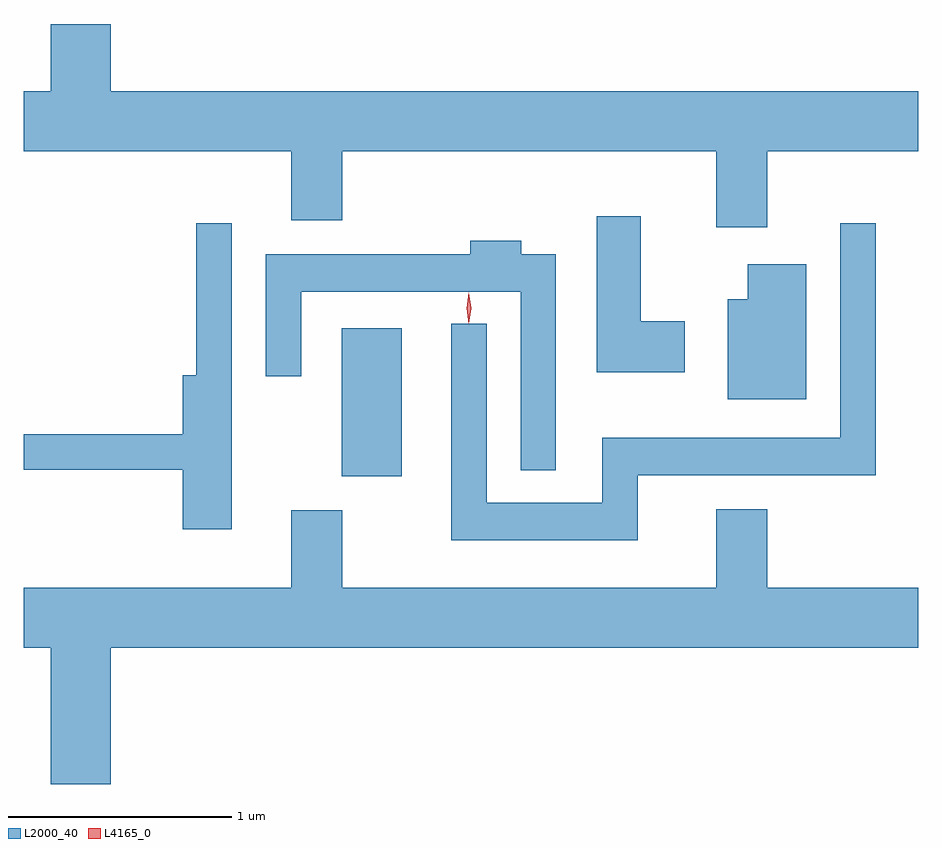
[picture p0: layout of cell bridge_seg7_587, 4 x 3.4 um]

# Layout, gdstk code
import gdstk
lib = gdstk.Library(unit=1e-6, precision=1e-09)
def R(c, l, rs):  # rectangles x0, y0, x1, y1
    for r in rs: c.add(gdstk.rectangle(r[:2], r[2:], *l))
def P(c, l, *ps):  # polygons
    for p in ps: c.add(gdstk.Polygon(p, *l))
L2000_40 = (2000, 40)
L4165_0 = (4165, 0)

bridge_seg7_587 = lib.new_cell('bridge_seg7_587')
R(bridge_seg7_587, L2000_40, [(655.936,1799.441,656.204,1800.104)])
P(bridge_seg7_587, L2000_40, [(657.839,1800.896),(658.514,1800.896),(658.514,1801.164),(654.904,1801.164),(654.904,1801.464),(654.636,1801.464),(654.636,1801.164),(654.514,1801.164),(654.514,1800.896),(655.711,1800.896),(655.711,1800.586),(655.939,1800.586),(655.939,1800.896),(657.611,1800.896),(657.611,1800.556),(657.839,1800.556)],
  [(657.469,1800.134),(657.274,1800.134),(657.274,1800.604),(657.076,1800.604),(657.076,1799.906),(657.469,1799.906)],
  [(657.259,1799.446),(658.324,1799.446),(658.324,1800.573),(658.166,1800.573),(658.166,1799.614),(657.101,1799.614),(657.101,1799.324),(656.584,1799.324),(656.584,1800.123),(656.426,1800.123),(656.426,1799.156),(657.259,1799.156)],
  [(655.444,1800.573),(655.286,1800.573),(655.286,1799.894),(655.226,1799.894),(655.226,1799.629),(654.514,1799.629),(654.514,1799.471),(655.226,1799.471),(655.226,1799.206),(655.444,1799.206)],
  [(656.894,1800.434),(656.739,1800.434),(656.739,1800.494),(656.511,1800.494),(656.511,1800.434),(655.596,1800.434),(655.596,1799.888),(655.754,1799.888),(655.754,1800.266),(656.736,1800.266),(656.736,1799.468),(656.894,1799.468)],
  [(658.014,1800.389),(657.751,1800.389),(657.751,1800.234),(657.661,1800.234),(657.661,1799.786),(658.014,1799.786)],
  [(654.904,1798.676),(658.514,1798.676),(658.514,1798.944),(657.839,1798.944),(657.839,1799.294),(657.611,1799.294),(657.611,1798.944),(655.939,1798.944),(655.939,1799.289),(655.711,1799.289),(655.711,1798.944),(654.514,1798.944),(654.514,1798.676),(654.636,1798.676),(654.636,1798.066),(654.904,1798.066)])
P(bridge_seg7_587, L4165_0, [(656.504,1800.124),(656.504,1800.124),(656.494,1800.193),(656.504,1800.262),(656.504,1800.263),(656.505,1800.262),(656.514,1800.193),(656.505,1800.124)],
  [(656.504,1800.127),(656.495,1800.194),(656.504,1800.26),(656.504,1800.26),(656.505,1800.26),(656.514,1800.194),(656.505,1800.127),(656.505,1800.127)])

lib.write_gds('bridge_seg7_587.gds')
